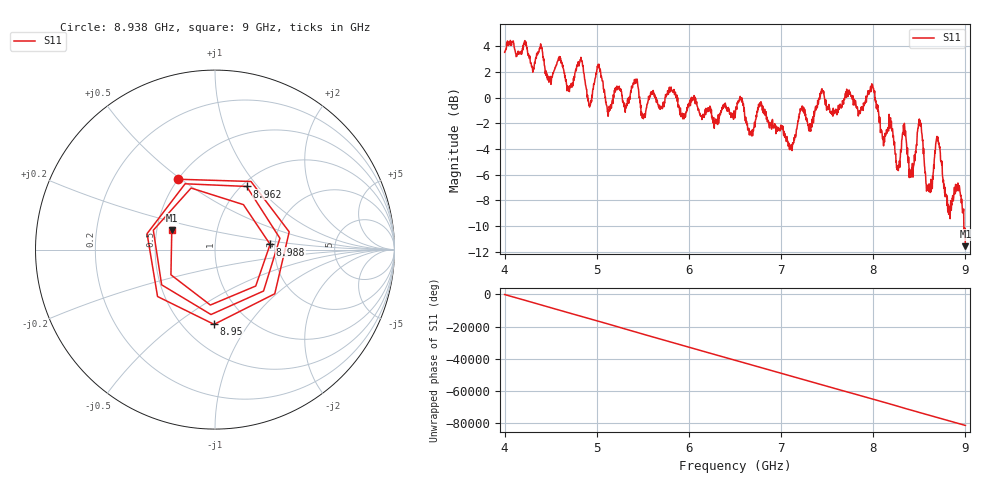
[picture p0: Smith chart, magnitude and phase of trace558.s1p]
! Created with skrf 1.8.0 (http://scikit-rf.org).
# Hz S RI R 50.0
!freq ReS11 ImS11
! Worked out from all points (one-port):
!   1601 points, 4 GHz to 9 GHz, reference 50 ohm
!   lowest |S11| = -11.6 dB at 9 GHz (marker M1), VSWR 1.72, Z = 30 + j6.9 ohm
!   |S11| at or under -10 dB: 8.983101 GHz to end of sweep
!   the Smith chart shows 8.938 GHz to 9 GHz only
!   S11 on the Smith chart (normalised r, x): 8.938 GHz: 0.50, +0.49; 8.95 GHz: 0.70, -0.70; 8.962 GHz: 1.05, +0.88; 8.988 GHz: 1.88, +0.12; 9 GHz: 0.60, +0.14
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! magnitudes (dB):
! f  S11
! 4 GHz  3.5
! 4.625 GHz  2.7
! 4.703 GHz  0.5
! 4.828 GHz  3.1
! 4.919 GHz  -0.6
! 5.016 GHz  2.6
! 5.122 GHz  -1.5
! 5.25 GHz  0.6
! 5.506 GHz  -1.7
! 5.875 GHz  -0.3
! 6.5 GHz  -1.6
! 7.125 GHz  -3.5
! 7.222 GHz  -0.9
! 7.75 GHz  0.4
! 7.991 GHz  1.0
! 8.262 GHz  -5.4
! 8.334 GHz  -2.4
! 8.375 GHz  -4.9
! 8.416 GHz  -5.6
! 8.503 GHz  -2.2
! 8.597 GHz  -6.8
! 8.7 GHz  -3.1
! 8.812 GHz  -8.3
! 8.938 GHz  -7.1
! 8.95 GHz  -7.6
! 8.962 GHz  -8.1
! 8.988 GHz  -10.2
! 9 GHz  -11.6
